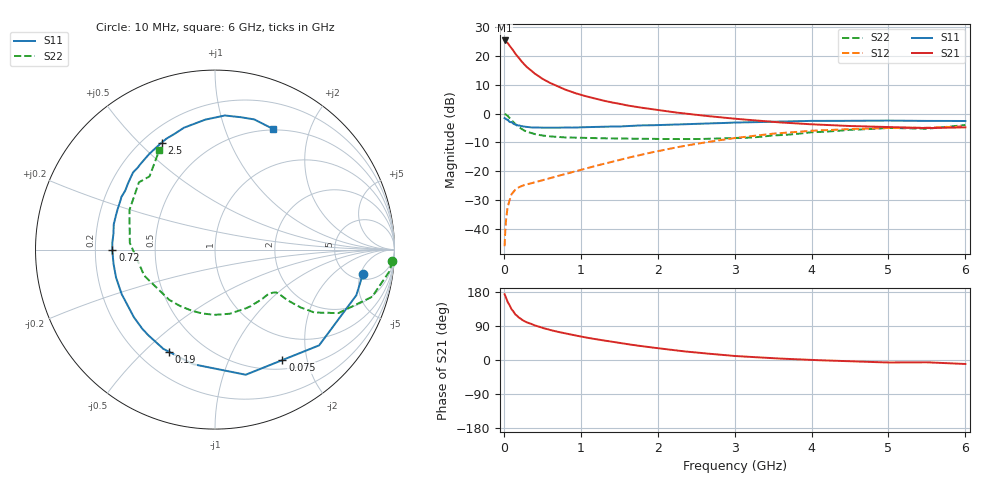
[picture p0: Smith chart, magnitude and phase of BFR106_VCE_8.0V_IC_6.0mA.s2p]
! Infineon Technologies  Discrete & RF Semiconductors
! BFR106
! VCE =  8.0 V,  IC =  6.0 mA
! Common Emitter S-Parameters:  Nov 2015
# GHz  S  MA  R  50
!  f  S11  S21  S12  S22
! GHz  MAG  ANG  MAG  ANG  MAG  ANG  MAG  ANG
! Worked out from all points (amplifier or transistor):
!   210 points, 10 MHz to 6 GHz, reference 50 ohm
!   highest |S21| = 25.4 dB at 10 MHz (marker M1)
!   |S21| within 3 dB of that: start of sweep to 109.3 MHz
!   unconditionally stable (mu >= 1): 590.2 MHz to 1.841 GHz; 5.094 GHz to end of sweep
!   at 185 MHz: K = 0.42, MSG = 22.7 dB, |S12| = -25.8 dB
!   at 1.52 GHz: K = 1.10, MAG = 7.8 dB, |S12| = -15.9 dB
!   at 6 GHz: K = 1.01, MAG = -0.9 dB, |S12| = -4.4 dB
!   S11 on the Smith chart (normalised r, x): 10 MHz: 6.22, -5.51; 75 MHz: 0.62, -1.60; 190 MHz: 0.32, -0.60; 720 MHz: 0.27, -0.00; 2.5 GHz: 0.27, +0.58; 6 GHz: 0.49, +1.48
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0.01  0.8357 -9.2  18.66 173.5  0.005 88.2  0.9907 -3.8
0.02  0.8275 -17.9  18.42 168.7  0.0101 82.7  0.9778 -7.3
0.05  0.7881 -42.6  16.81 152.9  0.0239 68.8  0.9142 -16.7
0.075  0.7209 -58.6  15.09 144.4  0.0316 60.3  0.8405 -21.5
0.1  0.7179 -76.2  13.79 134.0  0.0398 55.2  0.7738 -27.2
0.15  0.6501 -100.9  10.98 120.0  0.0479 47.3  0.6555 -32.3
0.19  0.6244 -114.1  9.392 113.4  0.052 44.7  0.5939 -33.6
0.2  0.6234 -117.5  9.019 111.4  0.0531 44.1  0.5785 -34.0
0.26  0.5989 -132.6  7.307 103.2  0.0571 42.2  0.5138 -34.7
0.3  0.5883 -140.2  6.429 99.2  0.0592 42.4  0.4853 -34.9
0.4  0.5761 -154.5  4.98 91.4  0.0641 43.9  0.4402 -34.7
0.5  0.5729 -164.2  4.036 84.8  0.0697 46.4  0.417 -35.0
0.6  0.5709 -172.1  3.42 79.3  0.0756 49.2  0.4031 -36.3
0.72  0.5718 -179.8  2.897 73.6  0.0838 52.8  0.3926 -38.7
1.02  0.5817 165.0  2.088 61.3  0.1071 59.4  0.3808 -45.5
1.4  0.5983 150.5  1.569 48.4  0.1456 63.9  0.3728 -57.7
2.02  0.6335 130.3  1.144 30.6  0.2259 63.1  0.3633 -82.5
2.5  0.6656 116.5  0.956 19.7  0.2987 58.0  0.3621 -105.8
3.1  0.7041 102.2  0.796 9.5  0.3902 48.4  0.3795 -138.2
4.1  0.7488 84.4  0.644 -0.6  0.5108 29.1  0.4807 171.2
5.1  0.7551 72.1  0.582 -6.5  0.5648 12.2  0.5615 137.2
6  0.7459 64.1  0.578 -10.5  0.6047 0.4  0.6353 119.2
